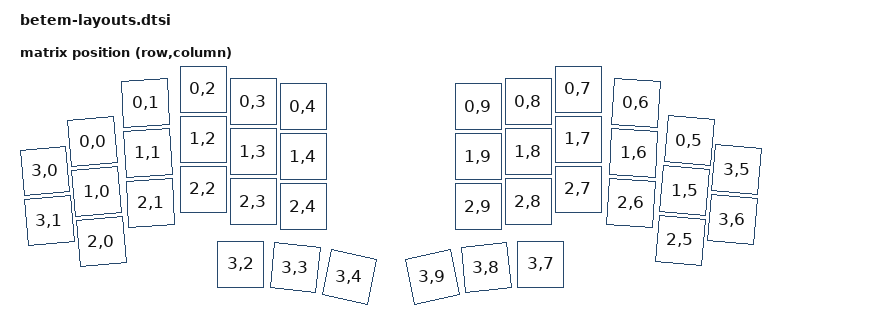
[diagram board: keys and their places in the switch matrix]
#include <physical_layouts.dtsi>
#include <dt-bindings/zmk/matrix-transform.h>

/ {
    physical_layout0: physical_layout_0 {
        compatible = "zmk,physical-layout";
        display-name = "BETEM All Keys";
        transform = <&matrix_transform0>;
        keys  //                     w   h    x    y     rot    rx    ry
            = <&key_physical_attrs 100 100    0  150  (-500)   200   400>
            , <&key_physical_attrs 100 100  100  100  (-500)   200   400>
            , <&key_physical_attrs 100 100  200   25  (-300)   300   375>
            , <&key_physical_attrs 100 100  300    0       0     0     0>
            , <&key_physical_attrs 100 100  400   25       0     0     0>
            , <&key_physical_attrs 100 100  500   35       0     0     0>
            , <&key_physical_attrs 100 100  850   35       0     0     0>
            , <&key_physical_attrs 100 100  950   25       0     0     0>
            , <&key_physical_attrs 100 100 1050    0       0     0     0>
            , <&key_physical_attrs 100 100 1150   25     300  1150   375>
            , <&key_physical_attrs 100 100 1250  100     500  1275   400>
            , <&key_physical_attrs 100 100 1350  150     500  1275   400>
            , <&key_physical_attrs 100 100    0  250  (-500)   200   400>
            , <&key_physical_attrs 100 100  100  200  (-500)   200   400>
            , <&key_physical_attrs 100 100  200  125  (-300)   300   375>
            , <&key_physical_attrs 100 100  300  100       0     0     0>
            , <&key_physical_attrs 100 100  400  125       0     0     0>
            , <&key_physical_attrs 100 100  500  135       0     0     0>
            , <&key_physical_attrs 100 100  850  135       0     0     0>
            , <&key_physical_attrs 100 100  950  125       0     0     0>
            , <&key_physical_attrs 100 100 1050  100       0     0     0>
            , <&key_physical_attrs 100 100 1150  125     300  1150   375>
            , <&key_physical_attrs 100 100 1250  200     500  1275   400>
            , <&key_physical_attrs 100 100 1350  250     500  1275   400>
            , <&key_physical_attrs 100 100  100  300  (-500)   200   400>
            , <&key_physical_attrs 100 100  200  225  (-300)   300   375>
            , <&key_physical_attrs 100 100  300  200       0     0     0>
            , <&key_physical_attrs 100 100  400  225       0     0     0>
            , <&key_physical_attrs 100 100  500  235       0     0     0>
            , <&key_physical_attrs 100 100  850  235       0     0     0>
            , <&key_physical_attrs 100 100  950  225       0     0     0>
            , <&key_physical_attrs 100 100 1050  200       0     0     0>
            , <&key_physical_attrs 100 100 1150  225     300  1150   375>
            , <&key_physical_attrs 100 100 1250  300     500  1275   400>
            , <&key_physical_attrs 100 100  375  350       0     0     0>
            , <&key_physical_attrs 100 100  500  350     600   475   250>
            , <&key_physical_attrs 100 100  600  350    1200   525   375>
            , <&key_physical_attrs 100 100  750  350 (-1200)   925   375>
            , <&key_physical_attrs 100 100  850  350  (-600)   975   250>
            , <&key_physical_attrs 100 100  975  350       0     0     0>
            ;
    };

	matrix_transform0: keymap_transform_0 {
		compatible = "zmk,matrix-transform";
		columns = <10>;
		rows = <4>;
        map = <
        RC(3,0) RC(0,0) RC(0,1) RC(0,2) RC(0,3) RC(0,4)                   RC(0,9) RC(0,8) RC(0,7) RC(0,6) RC(0,5) RC(3,5) 
        RC(3,1) RC(1,0) RC(1,1) RC(1,2) RC(1,3) RC(1,4)                   RC(1,9) RC(1,8) RC(1,7) RC(1,6) RC(1,5) RC(3,6) 
                RC(2,0) RC(2,1) RC(2,2) RC(2,3) RC(2,4)                   RC(2,9) RC(2,8) RC(2,7) RC(2,6) RC(2,5) 
                                        RC(3,2) RC(3,3) RC(3,4)   RC(3,9) RC(3,8) RC(3,7)
        >;
	};
};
